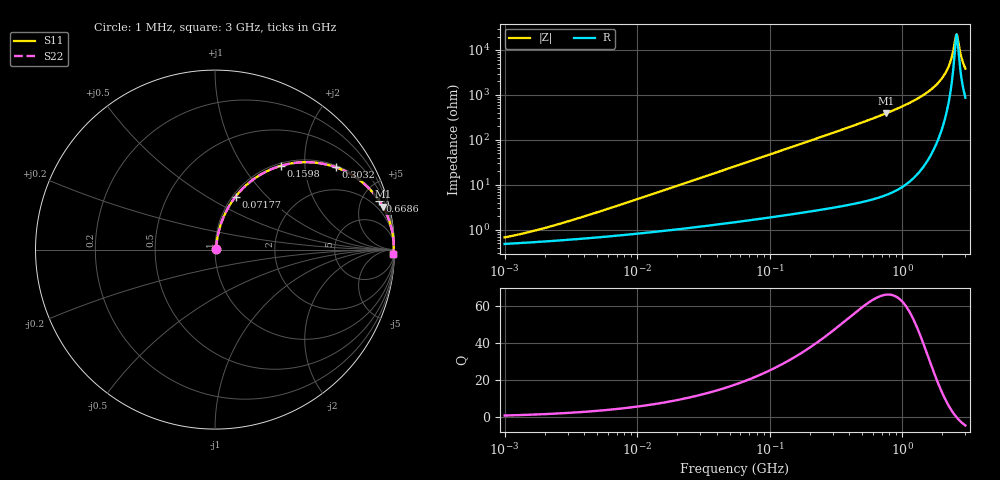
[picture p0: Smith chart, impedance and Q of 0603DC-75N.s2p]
# MHz  S  MA  R  50
!Freq  MagS11  AngS11  MagS21  AngS21  MagS12  AngS12  MagS22  AngS22
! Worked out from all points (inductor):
!   801 points, 1 MHz to 3 GHz, reference 50 ohm
!   read as one part in series: L = 75 nH near 4.101 MHz
!   highest Q = 65.8 at 753.9 MHz (marker M1), where L = 82 nH
!   self-resonance near 2.556 GHz
!   S11 on the Smith chart (normalised r, x): 1 MHz: 1.01, +0.01; 71.77 MHz: 1.03, +0.68; 159.8 MHz: 1.05, +1.51; 303.2 MHz: 1.06, +2.90; 668.6 MHz: 1.10, +6.76; 3 GHz: 18, -76
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1  0.006723 44.0  0.9952 -0.3  0.9952 -0.3  0.006723 44.0
3.823119  0.01897 69.7  0.9936 -1.0  0.9936 -1.0  0.01897 69.7
14.47069  0.06803 78.5  0.9887 -3.9  0.9887 -3.9  0.06803 78.5
54.77226  0.247 72.5  0.9551 -14.3  0.9551 -14.3  0.247 72.5
71.76513  0.3163 68.8  0.9335 -18.4  0.9335 -18.4  0.3163 68.8
107.0951  0.4447 61.4  0.8789 -26.4  0.8789 -26.4  0.4447 61.4
159.818  0.5946 51.8  0.7862 -36.5  0.7862 -36.5  0.5946 51.8
209.4008  0.6959 44.4  0.7003 -44.1  0.7003 -44.1  0.6959 44.4
303.2461  0.815 34.2  0.5623 -54.6  0.5623 -54.6  0.815 34.2
668.5918  0.9549 16.4  0.2826 -72.7  0.2826 -72.7  0.9549 16.4
753.9071  0.9649 14.4  0.2483 -74.8  0.2483 -74.8  0.9649 14.4
792.5923  0.9685 13.6  0.2347 -75.6  0.2347 -75.6  0.9685 13.6
1333.714  0.9908 6.6  0.1153 -82.1  0.1153 -82.1  0.9908 6.6
1855.641  0.9956 3.1  0.05479 -83.8  0.05479 -83.8  0.9956 3.1
2050.964  0.996 2.2  0.03782 -82.9  0.03782 -82.9  0.996 2.2
2221.924  0.9961 1.4  0.02459 -80.2  0.02459 -80.2  0.9961 1.4
2335.937  0.996 0.9  0.01652 -75.6  0.01652 -75.6  0.996 0.9
2480.502  0.9958 0.4  0.007491 -55.5  0.007491 -55.5  0.9958 0.4
2556.106  0.9956 0.1  0.004584 -16.2  0.004584 -16.2  0.9956 0.1
2634.014  0.9954 -0.2  0.005868 38.0  0.005868 38.0  0.9954 -0.2
2825.159  0.9947 -0.9  0.01595 70.2  0.01595 70.2  0.9947 -0.9
3000  0.994 -1.4  0.0256 75.6  0.0256 75.6  0.994 -1.4
